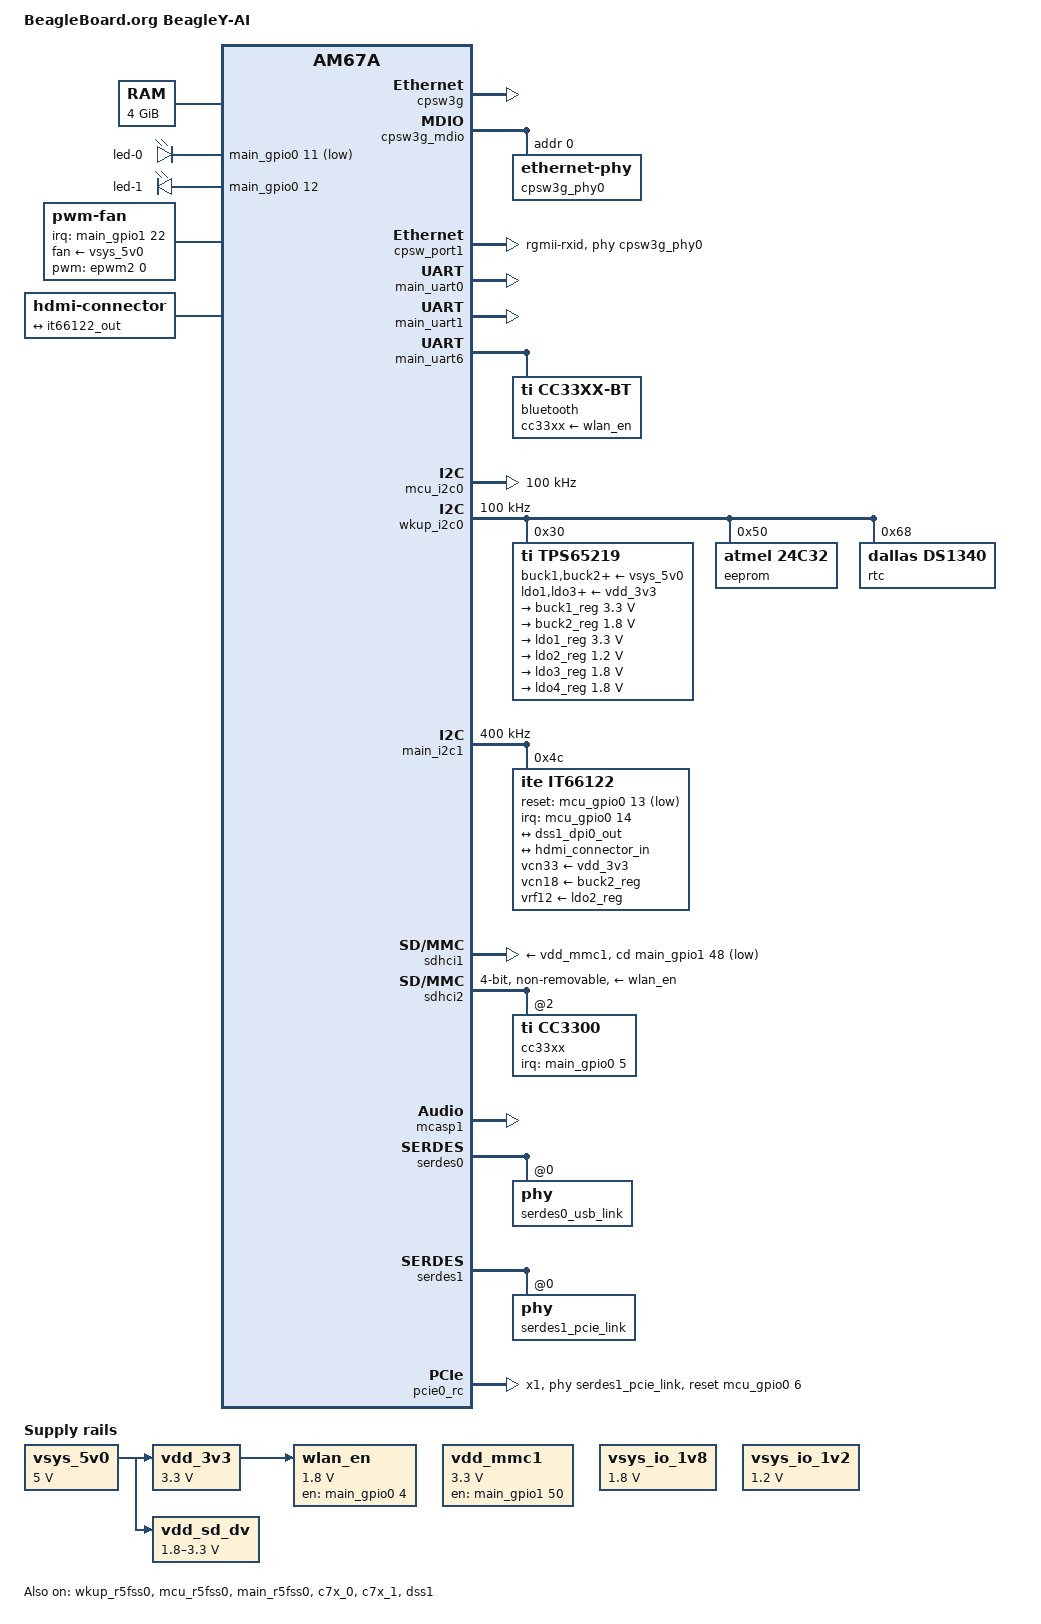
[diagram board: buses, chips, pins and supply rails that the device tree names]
// SPDX-License-Identifier: GPL-2.0-only OR MIT
/*
 * https://beagley-ai.org/
 *
 * Copyright (C) 2024 Texas Instruments Incorporated - https://www.ti.com/
 * Copyright (C) 2024 Robert Nelson, BeagleBoard.org Foundation
 */

/dts-v1/;

#include <dt-bindings/leds/common.h>
#include <dt-bindings/net/ti-dp83867.h>
#include <dt-bindings/phy/phy.h>
#include "k3-j722s.dtsi"
#include "k3-serdes.h"
#include <dt-bindings/gpio/gpio.h>
#include <dt-bindings/pwm/pwm.h>
#include "k3-am67a-beagley-ai-pinmux.dtsi"

/ {
	compatible = "beagle,am67a-beagley-ai", "ti,j722s";
	model = "BeagleBoard.org BeagleY-AI";

	aliases {
		serial0 = &wkup_uart0;
		serial2 = &main_uart0;
		serial3 = &main_uart1;
		serial6 = &main_uart6;
		mmc1 = &sdhci1;
		mmc2 = &sdhci2;
		rtc0 = &rtc;
		i2c1 = &mcu_i2c0;
	};

	chosen {
		stdout-path = &main_uart0;
	};

	memory@80000000 {
		/* 4G RAM */
		reg = <0x00000000 0x80000000 0x00000000 0x80000000>,
		      <0x00000008 0x80000000 0x00000000 0x80000000>;
		device_type = "memory";
		bootph-pre-ram;
	};

	reserved_memory: reserved-memory {
		#address-cells = <2>;
		#size-cells = <2>;
		ranges;

		/* global cma region */
		linux,cma {
			compatible = "shared-dma-pool";
			reusable;
			size = <0x00 0x38000000>;
			linux,cma-default;
		};

		secure_tfa_ddr: tfa@9e780000 {
			reg = <0x00 0x9e780000 0x00 0x80000>;
			no-map;
		};

		secure_ddr: optee@9e800000 {
			reg = <0x00 0x9e800000 0x00 0x01800000>;
			no-map;
		};

		wkup_r5fss0_core0_dma_memory_region: r5f-dma-memory@a0000000 {
			compatible = "shared-dma-pool";
			reg = <0x00 0xa0000000 0x00 0x100000>;
			no-map;
		};

		wkup_r5fss0_core0_memory_region: r5f-memory@a0100000 {
			compatible = "shared-dma-pool";
			reg = <0x00 0xa0100000 0x00 0xf00000>;
			no-map;
		};

		mcu_r5fss0_core0_dma_memory_region: mcu-r5fss-dma-memory-region@a1000000 {
			compatible = "shared-dma-pool";
			reg = <0x00 0xa1000000 0x00 0x100000>;
			no-map;
		};

		mcu_r5fss0_core0_memory_region: mcu-r5fss-memory-region@a1100000 {
			compatible = "shared-dma-pool";
			reg = <0x00 0xa1100000 0x00 0xf00000>;
			no-map;
		};

		main_r5fss0_core0_dma_memory_region: main-r5fss-dma-memory-region@a2000000 {
			compatible = "shared-dma-pool";
			reg = <0x00 0xa2000000 0x00 0x100000>;
			no-map;
		};

		main_r5fss0_core0_memory_region: main-r5fss-memory-region@a2100000 {
			compatible = "shared-dma-pool";
			reg = <0x00 0xa2100000 0x00 0xf00000>;
			no-map;
		};

		c7x_0_dma_memory_region: c7x-dma-memory@a3000000 {
			compatible = "shared-dma-pool";
			reg = <0x00 0xa3000000 0x00 0x100000>;
			no-map;
		};

		c7x_0_memory_region: c7x-memory@a3100000 {
			compatible = "shared-dma-pool";
			reg = <0x00 0xa3100000 0x00 0xf00000>;
			no-map;
		};

		c7x_1_dma_memory_region: c7x-dma-memory@a4000000 {
			compatible = "shared-dma-pool";
			reg = <0x00 0xa4000000 0x00 0x100000>;
			no-map;
		};

		c7x_1_memory_region: c7x-memory@a4100000 {
			compatible = "shared-dma-pool";
			reg = <0x00 0xa4100000 0x00 0xf00000>;
			no-map;
		};

		rtos_ipc_memory_region: ipc-memories@a5000000 {
			reg = <0x00 0xa5000000 0x00 0x1c00000>;
			alignment = <0x1000>;
			no-map;
		};
	};

	vsys_5v0: regulator-1 {
		compatible = "regulator-fixed";
		regulator-name = "vsys_5v0";
		regulator-min-microvolt = <5000000>;
		regulator-max-microvolt = <5000000>;
		regulator-always-on;
		regulator-boot-on;
		bootph-all;
	};

	vdd_3v3: regulator-2 {
		compatible = "regulator-fixed";
		regulator-name = "vdd_3v3";
		regulator-min-microvolt = <3300000>;
		regulator-max-microvolt = <3300000>;
		vin-supply = <&vsys_5v0>;
		regulator-always-on;
		regulator-boot-on;
	};

	vdd_mmc1: regulator-3 {
		compatible = "regulator-fixed";
		regulator-name = "vdd_mmc1";
		pinctrl-names = "default";
		pinctrl-0 = <&vdd_3v3_sd_pins_default>;
		regulator-min-microvolt = <3300000>;
		regulator-max-microvolt = <3300000>;
		regulator-boot-on;
		enable-active-high;
		gpio = <&main_gpio1 50 GPIO_ACTIVE_HIGH>;
		bootph-all;
	};

	vdd_sd_dv: regulator-4 {
		compatible = "regulator-gpio";
		regulator-name = "tlv71033";
		pinctrl-names = "default";
		pinctrl-0 = <&vdd_sd_dv_pins_default>;
		regulator-min-microvolt = <1800000>;
		regulator-max-microvolt = <3300000>;
		regulator-boot-on;
		vin-supply = <&vsys_5v0>;
		gpios = <&main_gpio1 49 GPIO_ACTIVE_HIGH>;
		states = <1800000 0x0>,
			 <3300000 0x1>;
		bootph-all;
	};

	vsys_io_1v8: regulator-5 {
		compatible = "regulator-fixed";
		regulator-name = "vsys_io_1v8";
		regulator-min-microvolt = <1800000>;
		regulator-max-microvolt = <1800000>;
		regulator-always-on;
		regulator-boot-on;
	};

	vsys_io_1v2: regulator-6 {
		compatible = "regulator-fixed";
		regulator-name = "vsys_io_1v2";
		regulator-min-microvolt = <1200000>;
		regulator-max-microvolt = <1200000>;
		regulator-always-on;
		regulator-boot-on;
	};

	wlan_en: regulator-7 {
		compatible = "regulator-fixed";
		regulator-name = "wlan_en";
		regulator-min-microvolt = <1800000>;
		regulator-max-microvolt = <1800000>;
		enable-active-high;
		/* regulator-always-on; */
		regulator-off-in-suspend;
		vin-supply = <&vdd_3v3>;
		gpio = <&main_gpio0 4 GPIO_ACTIVE_HIGH>;
		pinctrl-names = "default";
		pinctrl-0 = <&wifi_en_pins_default>;
	};

	leds {
		compatible = "gpio-leds";
		pinctrl-names = "default";
		pinctrl-0 = <&led_pins_default>;

		led-0 {
			gpios = <&main_gpio0 11 GPIO_ACTIVE_LOW>;
			default-state = "off";
		};

		led-1 {
			gpios = <&main_gpio0 12 GPIO_ACTIVE_HIGH>;
			linux,default-trigger = "heartbeat";
			function = LED_FUNCTION_HEARTBEAT;
			default-state = "on";
		};
	};

	fan: cooling_fan {
		compatible = "pwm-fan";
		pinctrl-names = "default";
		pinctrl-0 = <&pwm_fan_pins>;
		fan-supply = <&vsys_5v0>;
		#cooling-cells = <2>;
		cooling-min-state = <0>;
		cooling-max-state = <3>;
		cooling-levels = <0 75 125 175 250>;
		pwms = <&epwm2 0 40000 0>;
		pulses-per-revolution = <2>;
		interrupt-parent = <&main_gpio1>;
		interrupts = <22 IRQ_TYPE_EDGE_FALLING>;
		status = "okay";
	};

	hdmi0: connector-hdmi {
		compatible = "hdmi-connector";
		label = "hdmi";
		type = "d";
		port {
			hdmi_connector_in: endpoint {
				remote-endpoint = <&it66122_out>;
			};
		};
	};

	sound0: sound {
		compatible = "simple-audio-card";
		simple-audio-card,name = "it66122 HDMI";
		simple-audio-card,format = "i2s";
		simple-audio-card,bitclock-master = <&hdmi_dailink_master>;
		simple-audio-card,frame-master = <&hdmi_dailink_master>;

		hdmi_dailink_master: simple-audio-card,cpu {
			sound-dai = <&mcasp1>;
			system-clock-direction-out;
		};

		simple-audio-card,codec {
			sound-dai = <&it66122>;
		};
	};
};

&main_pmx0 {
	main_i2c0_pins_default: main-i2c0-default-pins {
		pinctrl-single,pins = <
			J722S_IOPAD(0x01e0, PIN_INPUT_PULLUP, 0) /* (D23) I2C0_SCL */
			J722S_IOPAD(0x01e4, PIN_INPUT_PULLUP, 0) /* (B22) I2C0_SDA */
		>;
		bootph-all;
	};

	main_uart0_pins_default: main-uart0-default-pins {
		pinctrl-single,pins = <
			J722S_IOPAD(0x01c8, PIN_INPUT, 0)	/* (A22) UART0_RXD */
			J722S_IOPAD(0x01cc, PIN_OUTPUT, 0)	/* (B22) UART0_TXD */
		>;
		bootph-all;
	};

	main_uart1_pins_default: main-uart1-default-pins {
		pinctrl-single,pins = <
			J722S_IOPAD(0x01ac, PIN_INPUT, 2) /* (C27) MCASP0_AFSR.UART1_RXD */
			J722S_IOPAD(0x01b0, PIN_OUTPUT, 2) /* (F24) MCASP0_ACLKR.UART1_TXD */
		>;
		bootph-all;
	};

	vdd_sd_dv_pins_default: vdd-sd-dv-default-pins {
		pinctrl-single,pins = <
			J722S_IOPAD(0x0244, PIN_OUTPUT, 7) /* (A24) MMC1_SDWP.GPIO1_49 */
		>;
		bootph-all;
	};

	main_mmc1_pins_default: main-mmc1-default-pins {
		pinctrl-single,pins = <
			J722S_IOPAD(0x023c, PIN_INPUT, 0) /* (H22) MMC1_CMD */
			J722S_IOPAD(0x0234, PIN_OUTPUT, 0) /* (H24) MMC1_CLK */
			J722S_IOPAD(0x0230, PIN_INPUT, 0) /* (H23) MMC1_DAT0 */
			J722S_IOPAD(0x022c, PIN_INPUT_PULLUP, 0) /* (H20) MMC1_DAT1 */
			J722S_IOPAD(0x0228, PIN_INPUT_PULLUP, 0) /* (J23) MMC1_DAT2 */
			J722S_IOPAD(0x0224, PIN_INPUT_PULLUP, 0) /* (H25) MMC1_DAT3 */
			J722S_IOPAD(0x0240, PIN_INPUT, 7) /* (B24) MMC1_SDCD.GPIO1_48 */
		>;
		bootph-all;
	};

	main_i2c1_pins_default: main-i2c1-default-pins {
		pinctrl-single,pins = <
			J722S_IOPAD(0x01e8, PIN_INPUT_PULLUP, 0) /* (C24) I2C1_SCL */
			J722S_IOPAD(0x01ec, PIN_INPUT_PULLUP, 0) /* (A22) I2C1_SDA */
		>;
		bootph-all;
	};

	main_gpio0_ioexp_intr_pins_default: main-gpio0-ioexp-intr-default-pins {
		pinctrl-single,pins = <
			J722S_IOPAD(0x0110, PIN_INPUT, 7) /* (G27) MMC2_DAT1.GPIO0_67 */
		>;
	};

	mdio_pins_default: mdio-default-pins {
		pinctrl-single,pins = <
			J722S_IOPAD(0x0160, PIN_OUTPUT, 0) /* (AC24) MDIO0_MDC */
			J722S_IOPAD(0x015c, PIN_INPUT, 0) /* (AD25) MDIO0_MDIO */
		>;
	};

	rgmii1_pins_default: rgmii1-default-pins {
		pinctrl-single,pins = <
			J722S_IOPAD(0x014c, PIN_INPUT, 0) /* (AC25) RGMII1_RD0 */
			J722S_IOPAD(0x0150, PIN_INPUT, 0) /* (AD27) RGMII1_RD1 */
			J722S_IOPAD(0x0154, PIN_INPUT, 0) /* (AE24) RGMII1_RD2 */
			J722S_IOPAD(0x0158, PIN_INPUT, 0) /* (AE26) RGMII1_RD3 */
			J722S_IOPAD(0x0148, PIN_INPUT, 0) /* (AE27) RGMII1_RXC */
			J722S_IOPAD(0x0144, PIN_INPUT, 0) /* (AD23) RGMII1_RX_CTL */
			J722S_IOPAD(0x0134, PIN_OUTPUT, 0) /* (AF27) RGMII1_TD0 */
			J722S_IOPAD(0x0138, PIN_OUTPUT, 0) /* (AE23) RGMII1_TD1 */
			J722S_IOPAD(0x013c, PIN_OUTPUT, 0) /* (AG25) RGMII1_TD2 */
			J722S_IOPAD(0x0140, PIN_OUTPUT, 0) /* (AF24) RGMII1_TD3 */
			J722S_IOPAD(0x0130, PIN_OUTPUT, 0) /* (AG26) RGMII1_TXC */
			J722S_IOPAD(0x012c, PIN_OUTPUT, 0) /* (AF25) RGMII1_TX_CTL */
		>;
	};

	led_pins_default: led-default-pins {
		pinctrl-single,pins = <
			J722S_IOPAD(0x002c, PIN_OUTPUT, 7) /* (K26) OSPI0_CSn0.GPIO0_11 */
			J722S_IOPAD(0x0030, PIN_OUTPUT, 7) /* (K23) OSPI0_CSn1.GPIO0_12 */
		>;
	};

	pmic_irq_pins_default: pmic-irq-default-pins {
		pinctrl-single,pins = <
			J722S_IOPAD(0x01f4, PIN_INPUT_PULLUP, 0) /* (B23) EXTINTn */
		>;
	};

	vdd_3v3_sd_pins_default: vdd-3v3-sd-default-pins {
		pinctrl-single,pins = <
			J722S_IOPAD(0x0254, PIN_OUTPUT, 7) /* (E25) USB0_DRVVBUS.GPIO1_50 */
		>;
	};

	dss1_pins_default: dss1-default-pins {
		pinctrl-single,pins = <
			J722S_IOPAD(0x0100, PIN_OUTPUT, 0) /* (AB23) VOUT0_VSYNC */
			J722S_IOPAD(0x00f8, PIN_OUTPUT, 0) /* (AB24) VOUT0_HSYNC */
			J722S_IOPAD(0x0104, PIN_OUTPUT, 0) /* (AC26) VOUT0_PCLK */
			J722S_IOPAD(0x00fc, PIN_OUTPUT, 0) /* (AC27) VOUT0_DE */
			J722S_IOPAD(0x00b8, PIN_OUTPUT, 0) /* (W27) VOUT0_DATA0 */
			J722S_IOPAD(0x00bc, PIN_OUTPUT, 0) /* (W25) VOUT0_DATA1 */
			J722S_IOPAD(0x00c0, PIN_OUTPUT, 0) /* (W24) VOUT0_DATA2 */
			J722S_IOPAD(0x00c4, PIN_OUTPUT, 0) /* (W23) VOUT0_DATA3 */
			J722S_IOPAD(0x00c8, PIN_OUTPUT, 0) /* (W22) VOUT0_DATA4 */
			J722S_IOPAD(0x00cc, PIN_OUTPUT, 0) /* (W21) VOUT0_DATA5 */
			J722S_IOPAD(0x00d0, PIN_OUTPUT, 0) /* (Y26) VOUT0_DATA6 */
			J722S_IOPAD(0x00d4, PIN_OUTPUT, 0) /* (Y27) VOUT0_DATA7 */
			J722S_IOPAD(0x00d8, PIN_OUTPUT, 0) /* (AA24) VOUT0_DATA8 */
			J722S_IOPAD(0x00dc, PIN_OUTPUT, 0) /* (AA27) VOUT0_DATA9 */
			J722S_IOPAD(0x00e0, PIN_OUTPUT, 0) /* (AA25) VOUT0_DATA10 */
			J722S_IOPAD(0x00e4, PIN_OUTPUT, 0) /* (AB25) VOUT0_DATA11 */
			J722S_IOPAD(0x00e8, PIN_OUTPUT, 0) /* (AA23) VOUT0_DATA12 */
			J722S_IOPAD(0x00ec, PIN_OUTPUT, 0) /* (AA22) VOUT0_DATA13 */
			J722S_IOPAD(0x00f0, PIN_OUTPUT, 0) /* (AB26) VOUT0_DATA14 */
			J722S_IOPAD(0x00f4, PIN_OUTPUT, 0) /* (AB27) VOUT0_DATA15 */
			J722S_IOPAD(0x005c, PIN_OUTPUT, 1) /* (AC25) GPMC0_AD8.VOUT0_DATA16 */
			J722S_IOPAD(0x0060, PIN_OUTPUT, 1) /* (U26) GPMC0_AD9.VOUT0_DATA17 */
			J722S_IOPAD(0x0064, PIN_OUTPUT, 1) /* (V27) GPMC0_AD10.VOUT0_DATA18 */
			J722S_IOPAD(0x0068, PIN_OUTPUT, 1) /* (V25) GPMC0_AD11.VOUT0_DATA19 */
			J722S_IOPAD(0x006c, PIN_OUTPUT, 1) /* (V26) GPMC0_AD12.VOUT0_DATA20 */
			J722S_IOPAD(0x0070, PIN_OUTPUT, 1) /* (V24) GPMC0_AD13.VOUT0_DATA21 */
			J722S_IOPAD(0x0074, PIN_OUTPUT, 1) /* (V22) GPMC0_AD14.VOUT0_DATA22 */
			J722S_IOPAD(0x0078, PIN_OUTPUT, 1) /* (V23) GPMC0_AD15.VOUT0_DATA23 */
		>;
	};

	main_mcasp1_pins_default: main-mcasp1-default-pins {
		pinctrl-single,pins = <
			J722S_IOPAD(0x0090, PIN_INPUT, 2) /* (P27) GPMC0_BE0n_CLE.MCASP1_ACLKX */
			J722S_IOPAD(0x0098, PIN_INPUT, 2) /* (V21) GPMC0_WAIT0.MCASP1_AFSX */
			J722S_IOPAD(0x008c, PIN_INPUT, 2) /* (N23) GPMC0_WEn.MCASP1_AXR0 */
		>;
	};

	wifi_pins_default: wifi-default-pins {
		pinctrl-single,pins = <
			J722S_IOPAD(0x0120, PIN_INPUT, 0) /* (F27) MMC2_CMD */
			J722S_IOPAD(0x0118, PIN_OUTPUT, 0) /* (H26) MMC2_CLK */
			J722S_IOPAD(0x011C, PIN_INPUT, 0) /* () MMC2_CLKLB */
			J722S_IOPAD(0x0114, PIN_INPUT, 0) /* (G26) MMC2_DAT0 */
			J722S_IOPAD(0x0110, PIN_INPUT_PULLUP, 0) /* (G27) MMC2_DAT1 */
			J722S_IOPAD(0x010c, PIN_INPUT_PULLUP, 0) /* (H27) MMC2_DAT2 */
			J722S_IOPAD(0x0108, PIN_INPUT_PULLUP, 0) /* (J27) MMC2_DAT3 */
		>;
	};

	wifi_en_pins_default: wifi-en-default-pins {
		pinctrl-single,pins = <
			J722S_IOPAD(0x0010, PIN_OUTPUT, 7) /* (L27) OSPI0_D1.GPIO0_4 */
		>;
	};

	wifi_wlirq_pins_default: wifi-wlirq-default-pins {
		pinctrl-single,pins = <
			J722S_IOPAD(0x0014, PIN_INPUT, 7) /* (L26) OSPI0_D2.GPIO0_5 */
		>;
	};

	pwm_fan_pins: pwm-fan-pins {
		pinctrl-single,pins = <
			J722S_IOPAD(0x0124, PIN_OUTPUT, 4) /* (F26) MMC2_SDCD.EHRPWM2_A FAN_PWM */
			J722S_IOPAD(0x01d0, PIN_INPUT, 7) /* (E22) UART0_CTSn.GPIO1_22 FAN_TACH */
		>;
	};

	main_uart6_pins_default: main-uart6-default-pins {
		pinctrl-single,pins = <
			J722S_IOPAD(0x0028, PIN_INPUT, 3)	/* (M27) OSPI0_D7.UART6_CTSn */
			J722S_IOPAD(0x0024, PIN_OUTPUT, 3)	/* (N27) OSPI0_D6.UART6_RTSn */
			J722S_IOPAD(0x001c, PIN_INPUT, 3)	/* (L21) OSPI0_D4.UART6_RXD */
			J722S_IOPAD(0x0020, PIN_OUTPUT, 3)	/* (M26) OSPI0_D5.UART6_TXD */
		>;
	};
};

&cpsw3g {
	pinctrl-names = "default";
	pinctrl-0 = <&rgmii1_pins_default>;
	status = "okay";
};

&cpsw3g_mdio {
	pinctrl-names = "default";
	pinctrl-0 = <&mdio_pins_default>;
	status = "okay";

	cpsw3g_phy0: ethernet-phy@0 {
		reg = <0>;
		ti,rx-internal-delay = <DP83867_RGMIIDCTL_2_00_NS>;
		ti,fifo-depth = <DP83867_PHYCR_FIFO_DEPTH_4_B_NIB>;
		ti,min-output-impedance;
	};
};

&cpsw_port1 {
	phy-mode = "rgmii-rxid";
	phy-handle = <&cpsw3g_phy0>;
	status = "okay";
};

&main_gpio0 {
	status = "okay";
};

&main_gpio1 {
	bootph-all;
	status = "okay";
};

&mcu_gpio0 {
	status = "okay";
};

&main_uart0 {
	pinctrl-names = "default";
	pinctrl-0 = <&main_uart0_pins_default>;
	bootph-all;
	status = "okay";
};

&main_uart1 {
	symlink = "ttyAMA0";
	//pinctrl-names = "default";
	//pinctrl-0 = <&main_uart1_pins_default>;
	bootph-all;
	status = "okay";
};

&main_uart6 {
	symlink = "board/bluetooth/uart";
	pinctrl-names = "default";
	pinctrl-0 = <&main_uart6_pins_default>;
	bootph-all;
	status = "okay";

	bluetooth {
		compatible = "ti,cc33xx-bt";
		cc33xx-supply = <&wlan_en>;
		max-speed = <115200>;
	};
};

&main0_thermal {
	trips {
		main0_active0: trip-active0 {
			temperature = <40000>;
			hysteresis = <5000>;
			type = "active";
		};

		main0_active1: trip-active1 {
			temperature = <48000>;
			hysteresis = <3000>;
			type = "active";
		};

		main0_active2: trip-active2 {
			temperature = <60000>;
			hysteresis = <10000>;
			type = "active";
		};
	};

	cooling-maps {
		map1 {
			trip = <&main0_active0>;
			cooling-device = <&fan 1 1>;
		};

		map2 {
			trip = <&main0_active1>;
			cooling-device = <&fan 2 2>;
		};

		map3 {
			trip = <&main0_active2>;
			cooling-device = <&fan 3 3>;
		};
	};
};

&mcu_pmx0 {
	bootph-all;

	wkup_uart0_pins_default: wkup-uart0-default-pins {
		pinctrl-single,pins = <
			J722S_MCU_IOPAD(0x02c, PIN_INPUT, 0)	/* (C7) WKUP_UART0_CTSn */
			J722S_MCU_IOPAD(0x030, PIN_OUTPUT, 0)	/* (C6) WKUP_UART0_RTSn */
			J722S_MCU_IOPAD(0x024, PIN_INPUT, 0)	/* (D8) WKUP_UART0_RXD */
			J722S_MCU_IOPAD(0x028, PIN_OUTPUT, 0)	/* (D7) WKUP_UART0_TXD */
		>;
		bootph-all;
	};

	wkup_i2c0_pins_default: wkup-i2c0-default-pins {
		pinctrl-single,pins = <
			J722S_MCU_IOPAD(0x04c, PIN_INPUT_PULLUP, 0)	/* (C7) WKUP_I2C0_SCL */
			J722S_MCU_IOPAD(0x050, PIN_INPUT_PULLUP, 0)	/* (C6) WKUP_I2C1_SDA */
		>;
		bootph-all;
	};

	hdmi_gpio_pins_default: hdmi-gpio-default-pins {
		pinctrl-single,pins = <
			J722S_MCU_IOPAD(0x0038, PIN_INPUT_PULLUP | PIN_DEBOUNCE_CONF6, 7) /* (D8) MCU_MCAN0_RX.MCU_GPIO0_14 HDMI_INTn */
			J722S_MCU_IOPAD(0x0034, PIN_OUTPUT_PULLUP, 7) /* (B2) MCU_MCAN0_TX.MCU_GPIO0_13 HDMI_RSTn */
		>;
	};

	wifi_32k_clk: mcu-clk-out-default-pins {
		pinctrl-single,pins = <
			J722S_MCU_IOPAD(0x0084, PIN_OUTPUT, 0) /* (F12) WKUP_CLKOUT0 */
		>;
	};

	pcie_pins_default: pcie-default-pins {
		pinctrl-single,pins = <
			J722S_MCU_IOPAD(0x0018, PIN_OUTPUT, 7)	/* (B4) MCU_UART0_TXD.MCU_GPIO0_6 */
			J722S_MCU_IOPAD(0x0014, PIN_INPUT, 7)	/* (B8) MCU_UART0_RXD.MCU_GPIO0_5 */ /* PCIE_DET_WAKE */
			J722S_MCU_IOPAD(0x0020, PIN_OUTPUT, 7)	/* (C5) MCU_UART0_RTSn.MCU_GPIO0_8 */ /* PCIE_PWR_EN */
		>;
		bootph-all;
	};

	mcu_i2c0_pins_default: mcu-i2c0-default-pins {
		pinctrl-single,pins = <
			J722S_MCU_IOPAD(0x0044, PIN_INPUT_PULLUP, 0) /* (B13) MCU_I2C0_SCL */
			J722S_MCU_IOPAD(0x0048, PIN_INPUT_PULLUP, 0) /* (E11) MCU_I2C0_SDA */
		>;
		bootph-all;
	};
};

&wkup_uart0 {
	/* WKUP UART0 is used by Device Manager firmware */
	pinctrl-names = "default";
	pinctrl-0 = <&wkup_uart0_pins_default>;
	bootph-all;
	status = "reserved";
};

&mcu_i2c0 {
	symlink = "hat/mcu_i2c0";
	pinctrl-names = "default";
	pinctrl-0 = <&mcu_i2c0_pins_default>;
	clock-frequency = <100000>;
	bootph-all;
	status = "okay";
};

&wkup_i2c0 {
	pinctrl-names = "default";
	pinctrl-0 = <&wkup_i2c0_pins_default>;
	clock-frequency = <100000>;
	bootph-all;
	status = "okay";

	tps65219: pmic@30 {
		compatible = "ti,tps65219";
		reg = <0x30>;
		buck1-supply = <&vsys_5v0>;
		buck2-supply = <&vsys_5v0>;
		buck3-supply = <&vsys_5v0>;
		ldo1-supply = <&vdd_3v3>;
		ldo3-supply = <&vdd_3v3>;
		ldo4-supply = <&vdd_3v3>;

		pinctrl-names = "default";
		pinctrl-0 = <&pmic_irq_pins_default>;
		interrupt-parent = <&gic500>;
		interrupts = <GIC_SPI 224 IRQ_TYPE_LEVEL_HIGH>;
		interrupt-controller;
		#interrupt-cells = <1>;

		bootph-all;
		system-power-controller;
		ti,power-button;

		regulators {
			buck1_reg: buck1 {
				regulator-name = "VDD_3V3";
				regulator-min-microvolt = <3300000>;
				regulator-max-microvolt = <3300000>;
				regulator-boot-on;
				regulator-always-on;
			};

			buck2_reg: buck2 {
				regulator-name = "VDD_1V8";
				regulator-min-microvolt = <1800000>;
				regulator-max-microvolt = <1800000>;
				regulator-boot-on;
				regulator-always-on;
			};

			ldo1_reg: ldo1 {
				regulator-name = "VDDSHV5_SDIO";
				regulator-min-microvolt = <3300000>;
				regulator-max-microvolt = <3300000>;
				regulator-allow-bypass;
				regulator-boot-on;
				regulator-always-on;
			};

			ldo2_reg: ldo2 {
				regulator-name = "VDD_1V2";
				regulator-min-microvolt = <1200000>;
				regulator-max-microvolt = <1200000>;
				regulator-boot-on;
				regulator-always-on;
			};

			ldo3_reg: ldo3 {
				regulator-name = "VDDA_PHY_1V8";
				regulator-min-microvolt = <1800000>;
				regulator-max-microvolt = <1800000>;
				regulator-boot-on;
				regulator-always-on;
			};

			ldo4_reg: ldo4 {
				regulator-name = "VDDA_PLL_1V8";
				regulator-min-microvolt = <1800000>;
				regulator-max-microvolt = <1800000>;
				regulator-boot-on;
				regulator-always-on;
			};
		};
	};

	eeprom@50 {
		compatible = "atmel,24c32";
		reg = <0x50>;
	};

	rtc: rtc@68 {
		compatible = "dallas,ds1340";
		reg = <0x68>;
	};
};

&main_i2c1 {
	status = "okay";
	pinctrl-names = "default";
	pinctrl-0 = <&main_i2c1_pins_default>;
	clock-frequency = <400000>;
	bootph-all;

	it66122: bridge-hdmi@4c {
		compatible = "ite,it66122";
		reg = <0x4c>;
		pinctrl-names = "default";
		pinctrl-0 = <&hdmi_gpio_pins_default>;
		vcn33-supply = <&vdd_3v3>;
		vcn18-supply = <&buck2_reg>;
		vrf12-supply = <&ldo2_reg>;
		reset-gpios = <&mcu_gpio0 13 GPIO_ACTIVE_LOW>;
		interrupt-parent = <&mcu_gpio0>;
		interrupts = <14 IRQ_TYPE_EDGE_FALLING>;
		#sound-dai-cells = <0>;

		ports {
			#address-cells = <1>;
			#size-cells = <0>;

			/*
			 * HDMI can be serviced with 3 potential VPs -
			 * (DSS0 VP1 / DSS1 VP0 / DSS1 VP1).
			 * For now, we will service it with DSS0 VP1.
			 */
			port@0 {
				reg = <0>;

				it66122_in: endpoint {
					bus-width = <24>;
					remote-endpoint = <&dss1_dpi0_out>;
				};
			};

			port@1 {
				reg = <1>;

				it66122_out: endpoint {
					remote-endpoint = <&hdmi_connector_in>;
				};
			};
		};
	};
};

&sdhci1 {
	/* SD/MMC */
	vmmc-supply = <&vdd_mmc1>;
	vqmmc-supply = <&vdd_sd_dv>;
	pinctrl-names = "default";
	pinctrl-0 = <&main_mmc1_pins_default>;
	disable-wp;
	cd-gpios = <&main_gpio1 48 GPIO_ACTIVE_LOW>;
	cd-debounce-delay-ms = <100>;
	bootph-all;
	ti,fails-without-test-cd;
	status = "okay";
};

&sdhci2 {
	vmmc-supply = <&wlan_en>;
	pinctrl-names = "default";
	pinctrl-0 = <&wifi_pins_default>, <&wifi_32k_clk>;
	bus-width = <4>;
	non-removable;
	ti,fails-without-test-cd;
	cap-power-off-card;
	keep-power-in-suspend;
	ti,driver-strength-ohm = <50>;
	assigned-clocks = <&k3_clks 157 174>;
	assigned-clock-parents = <&k3_clks 157 175>;
	#address-cells = <1>;
	#size-cells = <0>;
	status = "okay";

	cc33xx: cc33xx@0 {
		//compatible = "ti,cc3301";
		compatible = "ti,cc3300";
		reg = <2>;
		pinctrl-names = "default";
		pinctrl-0 = <&wifi_wlirq_pins_default>;
		interrupt-parent = <&main_gpio0>;
		interrupts = <5 IRQ_TYPE_EDGE_RISING>;
	};
};

&mailbox0_cluster0 {
	status = "okay";

	mbox_wkup_r5_0: mbox-wkup-r5-0 {
		ti,mbox-rx = <0 0 0>;
		ti,mbox-tx = <1 0 0>;
	};
};

&mailbox0_cluster1 {
	status = "okay";

	mbox_mcu_r5_0: mbox-mcu-r5-0 {
		ti,mbox-rx = <0 0 0>;
		ti,mbox-tx = <1 0 0>;
	};
};

&mailbox0_cluster2 {
	status = "okay";

	mbox_c7x_0: mbox-c7x-0 {
		ti,mbox-rx = <0 0 0>;
		ti,mbox-tx = <1 0 0>;
	};
};

&mailbox0_cluster3 {
	status = "okay";

	mbox_main_r5_0: mbox-main-r5-0 {
		ti,mbox-rx = <0 0 0>;
		ti,mbox-tx = <1 0 0>;
	};

	mbox_c7x_1: mbox-c7x-1 {
		ti,mbox-rx = <2 0 0>;
		ti,mbox-tx = <3 0 0>;
	};
};

/* Timers are used by Remoteproc firmware */
&main_timer0 {
	status = "reserved";
};

&main_timer1 {
	status = "reserved";
};

&main_timer2 {
	status = "reserved";
};

&wkup_r5fss0 {
	status = "okay";
};

&wkup_r5fss0_core0 {
	mboxes = <&mailbox0_cluster0 &mbox_wkup_r5_0>;
	memory-region = <&wkup_r5fss0_core0_dma_memory_region>,
			<&wkup_r5fss0_core0_memory_region>;
};

&mcu_r5fss0 {
	status = "okay";
};

&mcu_r5fss0_core0 {
	mboxes = <&mailbox0_cluster1 &mbox_mcu_r5_0>;
	memory-region = <&mcu_r5fss0_core0_dma_memory_region>,
			<&mcu_r5fss0_core0_memory_region>;
};

&main_r5fss0 {
	status = "okay";
};

&main_r5fss0_core0 {
	mboxes = <&mailbox0_cluster3 &mbox_main_r5_0>;
	memory-region = <&main_r5fss0_core0_dma_memory_region>,
			<&main_r5fss0_core0_memory_region>;
};

&c7x_0 {
	mboxes = <&mailbox0_cluster2 &mbox_c7x_0>;
	memory-region = <&c7x_0_dma_memory_region>,
			<&c7x_0_memory_region>;
	status = "okay";
};

&c7x_1 {
	mboxes = <&mailbox0_cluster3 &mbox_c7x_1>;
	memory-region = <&c7x_1_dma_memory_region>,
			<&c7x_1_memory_region>;
	status = "okay";
};

&dss1 {
	status = "okay";
	pinctrl-names = "default";
	pinctrl-0 = <&dss1_pins_default>;

	clocks = <&k3_clks 232 8>,
		 <&k3_clks 232 0>,
		 <&k3_clks 232 4>;

	assigned-clocks = <&k3_clks 241 0>, /* DSS1-VP0 */
			  <&k3_clks 240 0>, /* DSS1-VP1 */
			  <&k3_clks 245 0>; /* DPI Output */

	assigned-clock-parents = <&k3_clks 241 2>, /* PLL 17 HDMI */
				 <&k3_clks 240 1>, /* PLL 18 DSI */
				 <&k3_clks 245 2>; /* DSS1-DPI0 */
};

&dss1_ports {
	/* DSS1-VP1: DPI/HDMI Output */
	port@0 {
		reg = <0>;

		dss1_dpi0_out: endpoint {
			remote-endpoint = <&it66122_in>;
		};
	};
};

&mcasp1 {
	status = "okay";
	#sound-dai-cells = <0>;
	pinctrl-names = "default";
	pinctrl-0 = <&main_mcasp1_pins_default>;
	auxclk-fs-ratio = <2177>;
	op-mode = <0>; /* MCASP_IIS_MODE */
	tdm-slots = <2>;
	serial-dir = <  /* 0: INACTIVE, 1: TX, 2: RX */
	       1 0 0 0
	       0 0 0 0
	       0 0 0 0
	       0 0 0 0
	>;
	tx-num-evt = <32>;
	rx-num-evt = <32>;
};

&serdes_ln_ctrl {
	idle-states = <J722S_SERDES0_LANE0_USB>,
		      <J722S_SERDES1_LANE0_PCIE0_LANE0>;
};

&serdes0 {
	status = "okay";
	serdes0_usb_link: phy@0 {
		reg = <0>;
		cdns,num-lanes = <1>;
		#phy-cells = <0>;
		cdns,phy-type = <PHY_TYPE_USB3>;
		resets = <&serdes_wiz0 1>;
	};
};

&serdes1 {
	serdes1_pcie_link: phy@0 {
		reg = <0>;
		cdns,num-lanes = <1>;
		#phy-cells = <0>;
		cdns,phy-type = <PHY_TYPE_PCIE>;
		resets = <&serdes_wiz1 1>;
	};
};

&pcie0_rc {
	status = "okay";
	pinctrl-names = "default";
	pinctrl-0 = <&pcie_pins_default>;
	phys = <&serdes1_pcie_link>;
	phy-names = "pcie-phy";
	num-lanes = <1>;
	max-link-speed = <3>;
	reset-gpios = <&mcu_gpio0 6 GPIO_ACTIVE_HIGH>;
	enable-gpios = <&mcu_gpio0 8 GPIO_ACTIVE_HIGH>; /* Extra GPIO for pwr_en for BeagleY AI */
};
